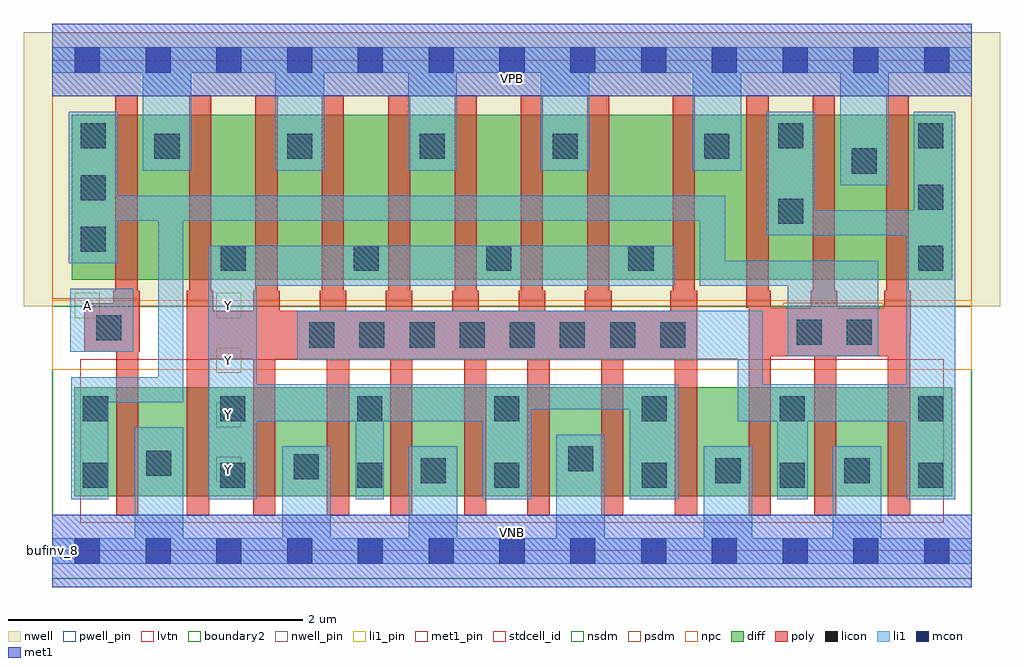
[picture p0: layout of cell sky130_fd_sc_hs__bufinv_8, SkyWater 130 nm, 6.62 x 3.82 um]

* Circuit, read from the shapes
.subckt sky130_fd_sc_hs__bufinv_8 A VGND VNB VPB VPWR Y
XM1 VGND A n1 VNB sky130_fd_pr__nfet_01v8_lvt w=0.74 l=0.15
XM2 Y n2 VGND VNB sky130_fd_pr__nfet_01v8_lvt w=0.74 l=0.15 m=8
XM3 n2 n1 VGND VNB sky130_fd_pr__nfet_01v8_lvt w=0.74 l=0.15 m=3
XM4 VPWR A n1 VPB sky130_fd_pr__pfet_01v8 w=1.12 l=0.15
XM5 Y n2 VPWR VPB sky130_fd_pr__pfet_01v8 w=1.12 l=0.15 m=8
XM6 n2 n1 VPWR VPB sky130_fd_pr__pfet_01v8 w=1.12 l=0.15 m=3
.ends

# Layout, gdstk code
import gdstk
lib = gdstk.Library(unit=1e-6, precision=1e-09)
def R(c, l, rs):  # rectangles x0, y0, x1, y1
    for r in rs: c.add(gdstk.rectangle(r[:2], r[2:], *l))
def A(c, l, x, y, w, h, nx, ny, dx, dy):  # array of equal rectangles
    R(c, l, [(x+i*dx, y+j*dy, x+i*dx+w, y+j*dy+h) for i in range(nx) for j in range(ny)])
def P(c, l, *ps):  # polygons
    for p in ps: c.add(gdstk.Polygon(p, *l))
nwell_pin = (64, 16)
nwell = (64, 20)
diff = (65, 20)
poly = (66, 20)
licon = (66, 44)
li1_pin = (67, 16)
li1 = (67, 20)
mcon = (67, 44)
met1_pin = (68, 16)
met1 = (68, 20)
stdcell_id = (81, 4)
nsdm = (93, 44)
psdm = (94, 20)
npc = (95, 20)
pwell_pin = (122, 16)
lvtn = (125, 44)
boundary2 = (236, 0)

sky130_fd_sc_hs__bufinv_ = lib.new_cell('sky130_fd_sc_hs__bufinv_8')
R(sky130_fd_sc_hs__bufinv_, nwell_pin, [(0,3.085,6.24,3.33)])
R(sky130_fd_sc_hs__bufinv_, nwell, [(-0.19,1.66,6.43,3.52)])
R(sky130_fd_sc_hs__bufinv_, diff, [(0.15,0.37,6.105,1.11), (0.135,1.84,6.105,2.96)])
P(sky130_fd_sc_hs__bufinv_, poly, [(0.595,1.765),(0.58,1.765),(0.58,3.09),(0.43,3.09),(0.43,1.765),(0.415,1.765),(0.415,1.68),(0.22,1.68),(0.22,1.35),(0.435,1.35),(0.435,0.24),(0.585,0.24),(0.585,1.35),(0.595,1.35)],
  [(4.375,1.765),(4.36,1.765),(4.36,3.09),(4.21,3.09),(4.21,1.765),(4.195,1.765),(4.195,1.63),(3.795,1.63),(3.795,1.765),(3.78,1.765),(3.78,3.09),(3.63,3.09),(3.63,1.765),(3.615,1.765),(3.615,1.63),(3.345,1.63),(3.345,1.765),(3.33,1.765),(3.33,3.09),(3.18,3.09),(3.18,1.765),(3.165,1.765),(3.165,1.63),(2.895,1.63),(2.895,1.765),(2.88,1.765),(2.88,3.09),(2.73,3.09),(2.73,1.765),(2.715,1.765),(2.715,1.63),(2.445,1.63),(2.445,1.765),(2.43,1.765),(2.43,3.09),(2.28,3.09),(2.28,1.765),(2.265,1.765),(2.265,1.63),(1.995,1.63),(1.995,1.765),(1.98,1.765),(1.98,3.09),(1.83,3.09),(1.83,1.765),(1.815,1.765),(1.815,1.63),(1.545,1.63),(1.545,1.765),(1.53,1.765),(1.53,3.09),(1.38,3.09),(1.38,1.765),(1.365,1.765),(1.365,1.63),(1.095,1.63),(1.095,1.765),(1.08,1.765),(1.08,3.09),(0.93,3.09),(0.93,1.765),(0.915,1.765),(0.915,0.24),(1.065,0.24),(1.065,1.3),(1.365,1.3),(1.365,0.24),(1.515,0.24),(1.515,1.3),(1.865,1.3),(1.865,0.24),(2.015,0.24),(2.015,1.3),(2.295,1.3),(2.295,0.24),(2.445,0.24),(2.445,1.3),(2.795,1.3),(2.795,0.24),(2.945,0.24),(2.945,1.3),(3.225,1.3),(3.225,0.24),(3.375,0.24),(3.375,1.3),(3.725,1.3),(3.725,0.24),(3.875,0.24),(3.875,1.3),(4.225,1.3),(4.225,0.24),(4.375,0.24)],
  [(5.825,1.765),(5.81,1.765),(5.81,3.09),(5.66,3.09),(5.66,1.765),(5.645,1.765),(5.645,1.65),(5.325,1.65),(5.325,1.765),(5.31,1.765),(5.31,3.09),(5.16,3.09),(5.16,1.765),(5.145,1.765),(5.145,1.65),(4.875,1.65),(4.875,1.765),(4.86,1.765),(4.86,3.09),(4.71,3.09),(4.71,1.65),(4.725,1.65),(4.725,0.24),(4.875,0.24),(4.875,1.32),(5.17,1.32),(5.17,0.24),(5.32,0.24),(5.32,1.32),(5.67,1.32),(5.67,0.24),(5.82,0.24),(5.82,1.47),(5.825,1.47)])
A(sky130_fd_sc_hs__bufinv_, licon, 0.21, 0.43, 0.17, 0.17, 4, 2, 0.93, 0.45)
A(sky130_fd_sc_hs__bufinv_, licon, 1.745, 1.38, 0.17, 0.17, 8, 1, 0.34, 0)
A(sky130_fd_sc_hs__bufinv_, licon, 1.145, 1.9, 0.17, 0.17, 3, 1, 0.9, 0)
A(sky130_fd_sc_hs__bufinv_, licon, 5.875, 1.9, 0.17, 0.17, 1, 3, 0, 0.415)
A(sky130_fd_sc_hs__bufinv_, licon, 0.195, 2.03, 0.17, 0.17, 1, 3, 0, 0.35)
A(sky130_fd_sc_hs__bufinv_, licon, 0.695, 2.66, 0.17, 0.17, 4, 1, 0.9, 0)
R(sky130_fd_sc_hs__bufinv_, licon, [(4,0.43,4.17,0.6), (4.935,0.43,5.105,0.6), (5.875,0.43,6.045,0.6), (2.5,0.46,2.67,0.63), (4.5,0.46,4.67,0.63), (5.375,0.46,5.545,0.63), (1.64,0.485,1.81,0.655), (0.64,0.51,0.81,0.68), (3.5,0.54,3.67,0.71), (4,0.88,4.17,1.05), (4.935,0.88,5.105,1.05), (5.875,0.88,6.045,1.05), (5.05,1.4,5.22,1.57), (5.39,1.4,5.56,1.57), (0.3,1.43,0.47,1.6), (3.91,1.9,4.08,2.07), (4.925,2.22,5.095,2.39), (5.425,2.56,5.595,2.73), (4.425,2.66,4.595,2.83), (4.925,2.73,5.095,2.9)])
A(sky130_fd_sc_hs__bufinv_, li1_pin, 1.115, 0.47, 0.17, 0.17, 1, 4, 0, 0.37)
R(sky130_fd_sc_hs__bufinv_, li1_pin, [(0.155,1.58,0.325,1.75)])
R(sky130_fd_sc_hs__bufinv_, li1, [(0.125,1.35,0.55,1.78)])
P(sky130_fd_sc_hs__bufinv_, li1, [(4.25,1.13),(1.39,1.13),(1.39,1.8),(4.225,1.8),(4.225,2.07),(1.06,2.07),(1.06,0.35),(1.39,0.35),(1.39,0.88),(2.06,0.88),(2.06,0.35),(2.25,0.35),(2.25,0.88),(2.92,0.88),(2.92,0.35),(3.25,0.35),(3.25,0.96),(3.92,0.96),(3.92,0.35),(4.25,0.35)],
  [(5.605,1.97),(4.565,1.97),(4.565,2.41),(0.445,2.41),(0.445,2.98),(0.115,2.98),(0.115,1.95),(0.445,1.95),(0.445,2.24),(0.72,2.24),(0.72,1.18),(0.13,1.18),(0.13,0.35),(0.38,0.35),(0.38,1.01),(0.89,1.01),(0.89,2.24),(4.395,2.24),(4.395,1.8),(4.99,1.8),(4.99,1.32),(5.605,1.32)],
  [(6.24,0.085),(5.625,0.085),(5.625,0.71),(5.295,0.71),(5.295,0.085),(4.75,0.085),(4.75,0.71),(4.42,0.71),(4.42,0.085),(3.75,0.085),(3.75,0.79),(3.42,0.79),(3.42,0.085),(2.75,0.085),(2.75,0.71),(2.42,0.71),(2.42,0.085),(1.89,0.085),(1.89,0.71),(1.56,0.71),(1.56,0.085),(0.89,0.085),(0.89,0.84),(0.56,0.84),(0.56,0.085),(0,0.085),(0,-0.085),(6.24,-0.085)],
  [(6.125,2.98),(5.845,2.98),(5.845,2.31),(5.175,2.31),(5.175,2.98),(4.845,2.98),(4.845,2.14),(5.795,2.14),(5.795,1.13),(4.82,1.13),(4.82,1.63),(1.665,1.63),(1.665,1.3),(4.65,1.3),(4.65,0.88),(4.92,0.88),(4.92,0.35),(5.125,0.35),(5.125,0.88),(5.795,0.88),(5.795,0.35),(6.125,0.35)],
  [(6.24,3.415),(0,3.415),(0,3.245),(0.615,3.245),(0.615,2.58),(0.945,2.58),(0.945,3.245),(1.515,3.245),(1.515,2.58),(1.845,2.58),(1.845,3.245),(2.415,3.245),(2.415,2.58),(2.745,2.58),(2.745,3.245),(3.315,3.245),(3.315,2.58),(3.645,2.58),(3.645,3.245),(4.345,3.245),(4.345,2.58),(4.675,2.58),(4.675,3.245),(5.345,3.245),(5.345,2.48),(5.675,2.48),(5.675,3.245),(6.24,3.245)])
A(sky130_fd_sc_hs__bufinv_, mcon, 0.155, -0.085, 0.17, 0.17, 13, 2, 0.48, 3.33)
R(sky130_fd_sc_hs__bufinv_, met1_pin, [(0,0,6.24,0.245), (0,3.085,6.24,3.33)])
R(sky130_fd_sc_hs__bufinv_, met1, [(0,-0.245,6.24,0.245), (0,3.085,6.24,3.575)])
R(sky130_fd_sc_hs__bufinv_, stdcell_id, [(0,0,6.24,3.33)])
R(sky130_fd_sc_hs__bufinv_, nsdm, [(0,-0.19,6.24,1.66)])
P(sky130_fd_sc_hs__bufinv_, psdm, [(6.24,3.52),(0,3.52),(0,1.71),(0.58,1.71),(0.58,1.66),(4.96,1.66),(4.96,1.68),(5.635,1.68),(5.635,1.66),(6.24,1.66)])
R(sky130_fd_sc_hs__bufinv_, npc, [(0,1.23,6.24,1.7)])
R(sky130_fd_sc_hs__bufinv_, pwell_pin, [(0,0,6.24,0.245)])
R(sky130_fd_sc_hs__bufinv_, lvtn, [(0.19,0.19,6.05,1.3)])
R(sky130_fd_sc_hs__bufinv_, boundary2, [(0,0,6.24,3.33)])
sky130_fd_sc_hs__bufinv_.add(gdstk.Label('bufinv_8', (0,0), layer=83, texttype=44))
sky130_fd_sc_hs__bufinv_.add(gdstk.Label('VNB', (3.12,0.123), layer=64, texttype=59))
sky130_fd_sc_hs__bufinv_.add(gdstk.Label('VPB', (3.12,3.208), layer=64, texttype=5))
sky130_fd_sc_hs__bufinv_.add(gdstk.Label('VPWR', (3.12,3.208), layer=68, texttype=5))
sky130_fd_sc_hs__bufinv_.add(gdstk.Label('VGND', (3.12,0.123), layer=68, texttype=5))
sky130_fd_sc_hs__bufinv_.add(gdstk.Label('Y', (1.2,0.555), layer=67, texttype=5))
sky130_fd_sc_hs__bufinv_.add(gdstk.Label('Y', (1.2,0.925), layer=67, texttype=5))
sky130_fd_sc_hs__bufinv_.add(gdstk.Label('Y', (1.2,1.295), layer=67, texttype=5))
sky130_fd_sc_hs__bufinv_.add(gdstk.Label('Y', (1.2,1.665), layer=67, texttype=5))
sky130_fd_sc_hs__bufinv_.add(gdstk.Label('A', (0.24,1.665), layer=67, texttype=5))

lib.write_gds('sky130_fd_sc_hs__bufinv_8.gds')
